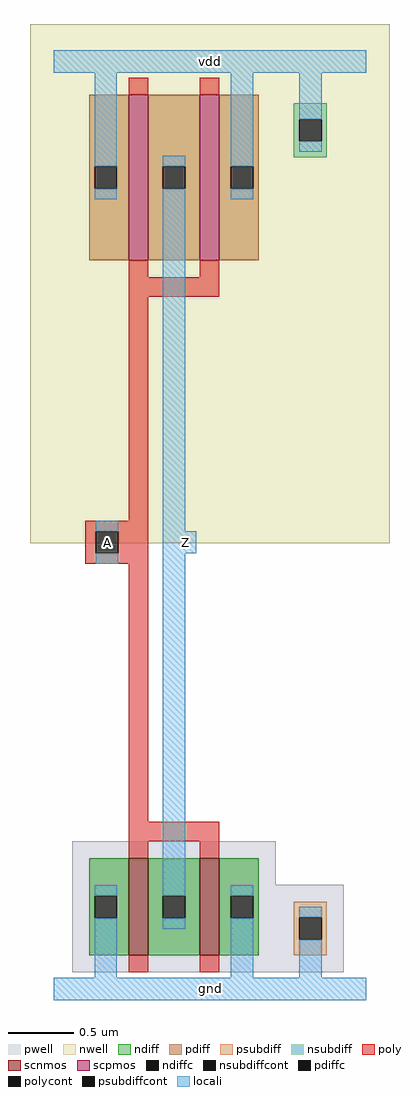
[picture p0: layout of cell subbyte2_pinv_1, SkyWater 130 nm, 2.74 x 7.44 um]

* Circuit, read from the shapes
.subckt subbyte2_pinv_1 A Z gnd vdd
XM1 Z A gnd gnd sky130_fd_pr__nfet_01v8 w=0.74 l=0.15 m=2
XM2 Z A vdd vdd sky130_fd_pr__pfet_01v8 w=1.26 l=0.15 m=2
.ends

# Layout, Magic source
magic
tech sky130A
magscale 1 2
<< nwell >>
rect -36 679 512 1471
<< pwell >>
rect 28 159 338 225
rect 28 25 442 159
<< scnmos >>
rect 114 51 144 199
rect 222 51 252 199
<< scpmos >>
rect 114 1111 144 1363
rect 222 1111 252 1363
<< ndiff >>
rect 54 142 114 199
rect 54 108 62 142
rect 96 108 114 142
rect 54 51 114 108
rect 144 142 222 199
rect 144 108 166 142
rect 200 108 222 142
rect 144 51 222 108
rect 252 142 312 199
rect 252 108 270 142
rect 304 108 312 142
rect 252 51 312 108
<< pdiff >>
rect 54 1254 114 1363
rect 54 1220 62 1254
rect 96 1220 114 1254
rect 54 1111 114 1220
rect 144 1254 222 1363
rect 144 1220 166 1254
rect 200 1220 222 1254
rect 144 1111 222 1220
rect 252 1254 312 1363
rect 252 1220 270 1254
rect 304 1220 312 1254
rect 252 1111 312 1220
<< ndiffc >>
rect 62 108 96 142
rect 166 108 200 142
rect 270 108 304 142
<< pdiffc >>
rect 62 1220 96 1254
rect 166 1220 200 1254
rect 270 1220 304 1254
<< psubdiff >>
rect 366 109 416 133
rect 366 75 374 109
rect 408 75 416 109
rect 366 51 416 75
<< nsubdiff >>
rect 366 1326 416 1350
rect 366 1292 374 1326
rect 408 1292 416 1326
rect 366 1268 416 1292
<< psubdiffcont >>
rect 374 75 408 109
<< nsubdiffcont >>
rect 374 1292 408 1326
<< poly >>
rect 114 1363 144 1389
rect 222 1363 252 1389
rect 114 1085 144 1111
rect 222 1085 252 1111
rect 114 1055 252 1085
rect 114 714 144 1055
rect 48 698 144 714
rect 48 664 64 698
rect 98 664 144 698
rect 48 648 144 664
rect 114 255 144 648
rect 114 225 252 255
rect 114 199 144 225
rect 222 199 252 225
rect 114 25 144 51
rect 222 25 252 51
<< polycont >>
rect 64 664 98 698
<< locali >>
rect 0 1397 476 1431
rect 62 1254 96 1397
rect 62 1204 96 1220
rect 166 1254 200 1270
rect 64 698 98 714
rect 64 648 98 664
rect 166 698 200 1220
rect 270 1254 304 1397
rect 374 1326 408 1397
rect 374 1276 408 1292
rect 270 1204 304 1220
rect 166 664 217 698
rect 62 142 96 158
rect 62 17 96 108
rect 166 142 200 664
rect 166 92 200 108
rect 270 142 304 158
rect 270 17 304 108
rect 374 109 408 125
rect 374 17 408 75
rect 0 -17 476 17
<< labels >>
rlabel locali s 81 681 81 681 4 A
port 1 nsew
rlabel locali s 200 681 200 681 4 Z
port 2 nsew
rlabel locali s 238 0 238 0 4 gnd
port 3 nsew
rlabel locali s 238 1414 238 1414 4 vdd
port 4 nsew
<< properties >>
string FIXED_BBOX 0 0 476 1153
<< end >>
